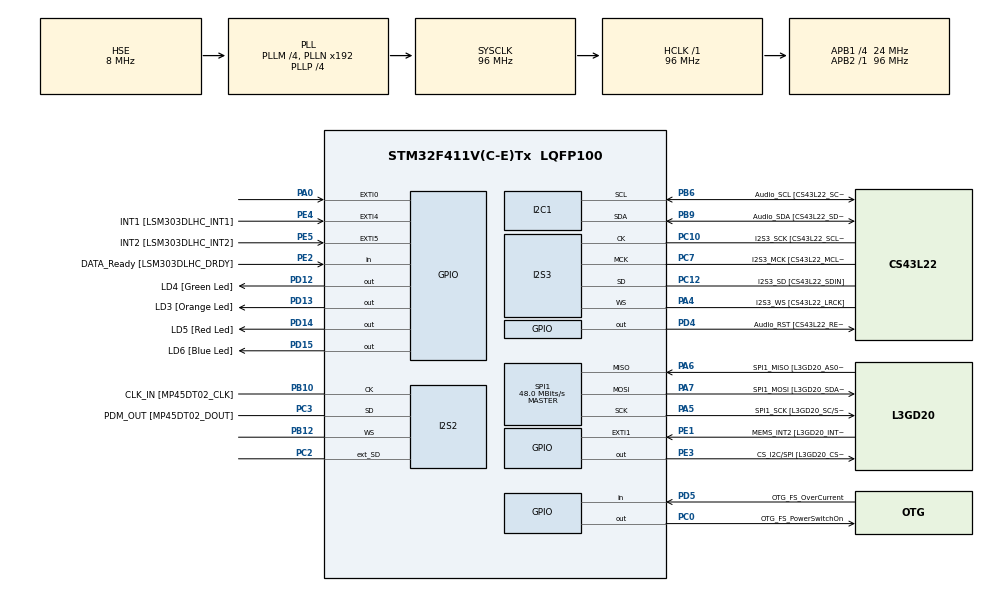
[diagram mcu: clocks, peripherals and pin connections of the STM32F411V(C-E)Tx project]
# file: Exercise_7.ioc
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FREERTOS.Tasks01=GreenLED_task,0,128,start_GreenLED_task,Default,NULL,Dynamic,NULL,NULL;RedLED_task,0,128,start_RedLED_task,Default,NULL,Dynamic,NULL,NULL;OrangeLED_task,1,128,task_OrangeLED_task,Default,NULL,Dynamic,NULL,NULL
I2S2.AudioFreq=I2S_AUDIOFREQ_96K
I2S2.ErrorAudioFreq=0.15 %
I2S2.FullDuplexMode=I2S_FULLDUPLEXMODE_ENABLE
I2S2.Instance=SPI$Index
I2S2.RealAudioFreq=96.153 KHz
I2S2.VirtualMode=I2S_MODE_MASTER
I2S3.AudioFreq=I2S_AUDIOFREQ_96K
I2S3.ErrorAudioFreq=-6.99 %
I2S3.FullDuplexMode=I2S_FULLDUPLEXMODE_DISABLE
I2S3.Instance=SPI$Index
I2S3.RealAudioFreq=89.285 KHz
I2S3.VirtualMode=I2S_MODE_MASTER
Mcu.Family=STM32F4
Mcu.Name=STM32F411V(C-E)Tx
Mcu.Package=LQFP100
NVIC.PriorityGroup=NVIC_PRIORITYGROUP_4
NVIC.TIM1_UP_TIM10_IRQn=true\:0\:0\:false\:false\:true\:false\:false\:true
NVIC.TimeBase=TIM1_UP_TIM10_IRQn
NVIC.TimeBaseIP=TIM1
PA0-WKUP.GPIO_ModeDefaultEXTI=GPIO_MODE_EVT_RISING
PA0-WKUP.Signal=GPXTI0
PA10.GPIO_Label=OTG_FS_ID
PA10.Signal=USB_OTG_FS_ID
PA11.GPIO_Label=OTG_FS_DM
PA11.Signal=USB_OTG_FS_DM
PA12.GPIO_Label=OTG_FS_DP
PA12.Signal=USB_OTG_FS_DP
PA13.GPIO_Label=SWDIO
PA13.Mode=Serial_Wire
PA13.Signal=SYS_JTMS-SWDIO
PA14.GPIO_Label=SWCLK
PA14.Mode=Serial_Wire
PA14.Signal=SYS_JTCK-SWCLK
PA4.GPIO_Label=I2S3_WS [CS43L22_LRCK]
PA4.GPIO_Mode=GPIO_MODE_AF_PP
PA4.GPIO_PuPd=GPIO_NOPULL
PA4.GPIO_Speed=GPIO_SPEED_FREQ_LOW
PA4.Mode=Half_Duplex_Master
PA4.Signal=I2S3_WS
PA5.GPIO_Label=SPI1_SCK [L3GD20_SC/SPC]
PA5.Mode=Full_Duplex_Master
PA5.Signal=SPI1_SCK
PA6.GPIO_Label=SPI1_MISO [L3GD20_AS0/SDO]
PA6.Mode=Full_Duplex_Master
PA6.Signal=SPI1_MISO
PA7.GPIO_Label=SPI1_MOSI [L3GD20_SDA/SDI/SDO]
PA7.Mode=Full_Duplex_Master
PA7.Signal=SPI1_MOSI
PA9.GPIO_Label=VBUS_FS
PA9.Signal=USB_OTG_FS_VBUS
PB10.GPIO_Label=CLK_IN [MP45DT02_CLK]
PB10.Mode=Full_Duplex_Master
PB10.Signal=I2S2_CK
PB12.Mode=Full_Duplex_Master
PB12.Signal=I2S2_WS
PB3.GPIO_Label=SWO
PB3.Signal=SYS_JTDO-SWO
PB6.GPIO_Label=Audio_SCL [CS43L22_SCL]
PB6.GPIO_Mode=GPIO_MODE_AF_OD
PB6.GPIO_PuPd=GPIO_NOPULL
PB6.GPIO_Speed=GPIO_SPEED_FREQ_LOW
PB6.Mode=I2C
PB6.Signal=I2C1_SCL
PB9.GPIO_Label=Audio_SDA [CS43L22_SDA]
PB9.GPIO_Mode=GPIO_MODE_AF_OD
PB9.GPIO_PuPd=GPIO_NOPULL
PB9.GPIO_Speed=GPIO_SPEED_FREQ_LOW
PB9.Mode=I2C
PB9.Signal=I2C1_SDA
PC0.GPIO_Label=OTG_FS_PowerSwitchOn
PC0.PinState=GPIO_PIN_SET
PC0.Signal=GPIO_Output
PC10.GPIO_Label=I2S3_SCK [CS43L22_SCLK]
PC10.GPIO_Mode=GPIO_MODE_AF_PP
PC10.GPIO_PuPd=GPIO_NOPULL
PC10.GPIO_Speed=GPIO_SPEED_FREQ_LOW
PC10.Mode=Half_Duplex_Master
PC10.Signal=I2S3_CK
PC12.GPIO_Label=I2S3_SD [CS43L22_SDIN]
PC12.GPIO_Mode=GPIO_MODE_AF_PP
PC12.GPIO_PuPd=GPIO_NOPULL
PC12.GPIO_Speed=GPIO_SPEED_FREQ_LOW
PC12.Mode=Half_Duplex_Master
PC12.Signal=I2S3_SD
PC14-OSC32_IN.GPIO_Label=PC14-OSC32_IN
PC14-OSC32_IN.Mode=LSE-External-Oscillator
PC14-OSC32_IN.Signal=RCC_OSC32_IN
PC15-OSC32_OUT.GPIO_Label=PC15-OSC32_OUT
PC15-OSC32_OUT.Mode=LSE-External-Oscillator
PC15-OSC32_OUT.Signal=RCC_OSC32_OUT
PC2.Mode=Full_Duplex_Master
PC2.Signal=I2S2_ext_SD
PC3.GPIO_Label=PDM_OUT [MP45DT02_DOUT]
PC3.Mode=Full_Duplex_Master
PC3.Signal=I2S2_SD
PC7.GPIO_Label=I2S3_MCK [CS43L22_MCLK]
PC7.GPIO_Mode=GPIO_MODE_AF_PP
PC7.GPIO_PuPd=GPIO_NOPULL
PC7.GPIO_Speed=GPIO_SPEED_FREQ_LOW
PC7.Mode=Master_Clock_Activated
PC7.Signal=I2S3_MCK
PD12.GPIO_Label=LD4 [Green Led]
PD12.GPIO_PuPd=GPIO_NOPULL
PD12.GPIO_Speed=GPIO_SPEED_FREQ_LOW
PD12.Signal=GPIO_Output
PD13.GPIO_Label=LD3 [Orange Led]
PD13.GPIO_PuPd=GPIO_NOPULL
PD13.GPIO_Speed=GPIO_SPEED_FREQ_LOW
PD13.Signal=GPIO_Output
PD14.GPIO_Label=LD5 [Red Led]
PD14.GPIO_PuPd=GPIO_NOPULL
PD14.GPIO_Speed=GPIO_SPEED_FREQ_LOW
PD14.Signal=GPIO_Output
PD15.GPIO_Label=LD6 [Blue Led]
PD15.GPIO_PuPd=GPIO_NOPULL
PD15.GPIO_Speed=GPIO_SPEED_FREQ_LOW
PD15.Signal=GPIO_Output
PD4.GPIO_Label=Audio_RST [CS43L22_RESET]
PD4.Signal=GPIO_Output
PD5.GPIO_Label=OTG_FS_OverCurrent
PD5.Signal=GPIO_Input
PE1.GPIO_Label=MEMS_INT2 [L3GD20_INT2]
PE1.GPIO_ModeDefaultEXTI=GPIO_MODE_EVT_RISING
PE1.Signal=GPXTI1
PE2.GPIO_Label=DATA_Ready [LSM303DLHC_DRDY]
PE2.Signal=GPIO_Input
PE3.GPIO_Label=CS_I2C/SPI [L3GD20_CS_I2C/SPI]
PE3.Signal=GPIO_Output
PE4.GPIO_Label=INT1 [LSM303DLHC_INT1]
PE4.GPIO_ModeDefaultEXTI=GPIO_MODE_EVT_RISING
PE4.Signal=GPXTI4
PE5.GPIO_Label=INT2 [LSM303DLHC_INT2]
PE5.GPIO_ModeDefaultEXTI=GPIO_MODE_EVT_RISING
PE5.Signal=GPXTI5
PH0\ -\ OSC_IN.GPIO_Label=PH0-OSC_IN
PH0\ -\ OSC_IN.Mode=HSE-External-Clock-Source
PH0\ -\ OSC_IN.Signal=RCC_OSC_IN
PH1\ -\ OSC_OUT.GPIO_Label=PH1-OSC_OUT
PH1\ -\ OSC_OUT.Mode=HSE-External-Clock-Source
PH1\ -\ OSC_OUT.Signal=RCC_OSC_OUT
ProjectManager.HeapSize=0x200
ProjectManager.StackSize=0x400
ProjectManager.TargetToolchain=STM32CubeIDE
RCC.48MHZClocksFreq_Value=48000000
RCC.AHBFreq_Value=96000000
RCC.APB1CLKDivider=RCC_HCLK_DIV4
RCC.APB1Freq_Value=24000000
RCC.APB1TimFreq_Value=48000000
RCC.APB2Freq_Value=96000000
RCC.APB2TimFreq_Value=96000000
RCC.CortexFreq_Value=96000000
RCC.HCLKFreq_Value=96000000
RCC.HSE_VALUE=8000000
RCC.HSI_VALUE=16000000
RCC.PLLI2SM=5
RCC.PLLI2SN=200
RCC.PLLM=4
RCC.PLLP=RCC_PLLP_DIV4
RCC.PLLQ=8
RCC.PLLSourceVirtual=RCC_PLLSOURCE_HSE
RCC.SYSCLKFreq_VALUE=96000000
RCC.SYSCLKSource=RCC_SYSCLKSOURCE_PLLCLK
RCC.VCOOutputFreq_Value=384000000
SPI1.BaudRatePrescaler=SPI_BAUDRATEPRESCALER_2
SPI1.CalculateBaudRate=48.0 MBits/s
SPI1.Direction=SPI_DIRECTION_2LINES
SPI1.Mode=SPI_MODE_MASTER
SPI1.VirtualType=VM_MASTER
VP_FREERTOS_VS_CMSIS_V1.Mode=CMSIS_V1
VP_SYS_VS_tim1.Mode=TIM1
board=STM32F411E-DISCO

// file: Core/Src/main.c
/* USER CODE BEGIN Header */
/**
  ******************************************************************************
  * @file           : main.c
  * @brief          : Main program body
  ******************************************************************************
  * @attention
  *
  * <h2><center>&copy; Copyright (c) 2023 STMicroelectronics.
  * All rights reserved.</center></h2>
  *
  * This software component is licensed by ST under Ultimate Liberty license
  * SLA0044, the "License"; You may not use this file except in compliance with
  * the License. You may obtain a copy of the License at:
  *                             www.st.com/SLA0044
  *
  ******************************************************************************
  */
/* USER CODE END Header */

#include "main.h"
#include "cmsis_os.h"

/* USER CODE BEGIN PD */
#define green GPIO_PIN_12
#define orange GPIO_PIN_13
#define red GPIO_PIN_14
#define blue GPIO_PIN_15
/* USER CODE END PD */

I2C_HandleTypeDef hi2c1;

I2S_HandleTypeDef hi2s2;
I2S_HandleTypeDef hi2s3;

SPI_HandleTypeDef hspi1;

osThreadId GreenLED_taskHandle;
osThreadId RedLED_taskHandle;
osThreadId OrangeLED_taskHandle;
/* USER CODE BEGIN PV */
int Start_Flag = 1;
/* USER CODE END PV */

void SystemClock_Config(void);
static void MX_GPIO_Init(void);
static void MX_I2C1_Init(void);
static void MX_I2S2_Init(void);
static void MX_I2S3_Init(void);
static void MX_SPI1_Init(void);
void start_GreenLED_task(void const * argument);
void start_RedLED_task(void const * argument);
void task_OrangeLED_task(void const * argument);

int main(void)
{

  /* MCU Configuration--------------------------------------------------------*/

  /* Reset of all peripherals, Initializes the Flash interface and the Systick. */
  HAL_Init();

  /* Configure the system clock */
  SystemClock_Config();

  /* Initialize all configured peripherals */
  MX_GPIO_Init();
  MX_I2C1_Init();
  MX_I2S2_Init();
  MX_I2S3_Init();
  MX_SPI1_Init();

  /* Create the thread(s) */
  /* definition and creation of GreenLED_task */
  osThreadDef(GreenLED_task, start_GreenLED_task, osPriorityNormal, 0, 128);
  GreenLED_taskHandle = osThreadCreate(osThread(GreenLED_task), NULL);

  /* definition and creation of RedLED_task */
  osThreadDef(RedLED_task, start_RedLED_task, osPriorityNormal, 0, 128);
  RedLED_taskHandle = osThreadCreate(osThread(RedLED_task), NULL);

  /* definition and creation of OrangeLED_task */
  osThreadDef(OrangeLED_task, task_OrangeLED_task, osPriorityAboveNormal, 0, 128);
  OrangeLED_taskHandle = osThreadCreate(osThread(OrangeLED_task), NULL);

  /* Start scheduler */
  osKernelStart();

  /* We should never get here as control is now taken by the scheduler */

  /* Infinite loop */
  while (1)
  {

  }
}

void SystemClock_Config(void)
{
  RCC_OscInitTypeDef RCC_OscInitStruct = {0};
  RCC_ClkInitTypeDef RCC_ClkInitStruct = {0};
  RCC_PeriphCLKInitTypeDef PeriphClkInitStruct = {0};

  /** Configure the main internal regulator output voltage
  */
  __HAL_RCC_PWR_CLK_ENABLE();
  __HAL_PWR_VOLTAGESCALING_CONFIG(PWR_REGULATOR_VOLTAGE_SCALE1);
  /** Initializes the CPU, AHB and APB busses clocks
  */
  RCC_OscInitStruct.OscillatorType = RCC_OSCILLATORTYPE_HSE;
  RCC_OscInitStruct.HSEState = RCC_HSE_BYPASS;
  RCC_OscInitStruct.PLL.PLLState = RCC_PLL_ON;
  RCC_OscInitStruct.PLL.PLLSource = RCC_PLLSOURCE_HSE;
  RCC_OscInitStruct.PLL.PLLM = 4;
  RCC_OscInitStruct.PLL.PLLN = 192;
  RCC_OscInitStruct.PLL.PLLP = RCC_PLLP_DIV4;
  RCC_OscInitStruct.PLL.PLLQ = 8;
  if (HAL_RCC_OscConfig(&RCC_OscInitStruct) != HAL_OK)
  {
    Error_Handler();
  }
  /** Initializes the CPU, AHB and APB busses clocks
  */
  RCC_ClkInitStruct.ClockType = RCC_CLOCKTYPE_HCLK|RCC_CLOCKTYPE_SYSCLK
                              |RCC_CLOCKTYPE_PCLK1|RCC_CLOCKTYPE_PCLK2;
  RCC_ClkInitStruct.SYSCLKSource = RCC_SYSCLKSOURCE_PLLCLK;
  RCC_ClkInitStruct.AHBCLKDivider = RCC_SYSCLK_DIV1;
  RCC_ClkInitStruct.APB1CLKDivider = RCC_HCLK_DIV4;
  RCC_ClkInitStruct.APB2CLKDivider = RCC_HCLK_DIV1;

  if (HAL_RCC_ClockConfig(&RCC_ClkInitStruct, FLASH_LATENCY_3) != HAL_OK)
  {
    Error_Handler();
  }
  PeriphClkInitStruct.PeriphClockSelection = RCC_PERIPHCLK_I2S;
  PeriphClkInitStruct.PLLI2S.PLLI2SN = 200;
  PeriphClkInitStruct.PLLI2S.PLLI2SM = 5;
  PeriphClkInitStruct.PLLI2S.PLLI2SR = 2;
  if (HAL_RCCEx_PeriphCLKConfig(&PeriphClkInitStruct) != HAL_OK)
  {
    Error_Handler();
  }
}

static void MX_I2C1_Init(void)
{

  hi2c1.Instance = I2C1;
  hi2c1.Init.ClockSpeed = 100000;
  hi2c1.Init.DutyCycle = I2C_DUTYCYCLE_2;
  hi2c1.Init.OwnAddress1 = 0;
  hi2c1.Init.AddressingMode = I2C_ADDRESSINGMODE_7BIT;
  hi2c1.Init.DualAddressMode = I2C_DUALADDRESS_DISABLE;
  hi2c1.Init.OwnAddress2 = 0;
  hi2c1.Init.GeneralCallMode = I2C_GENERALCALL_DISABLE;
  hi2c1.Init.NoStretchMode = I2C_NOSTRETCH_DISABLE;
  if (HAL_I2C_Init(&hi2c1) != HAL_OK)
  {
    Error_Handler();
  }

}

static void MX_I2S2_Init(void)
{

  hi2s2.Instance = SPI2;
  hi2s2.Init.Mode = I2S_MODE_MASTER_TX;
  hi2s2.Init.Standard = I2S_STANDARD_PHILIPS;
  hi2s2.Init.DataFormat = I2S_DATAFORMAT_16B;
  hi2s2.Init.MCLKOutput = I2S_MCLKOUTPUT_DISABLE;
  hi2s2.Init.AudioFreq = I2S_AUDIOFREQ_96K;
  hi2s2.Init.CPOL = I2S_CPOL_LOW;
  hi2s2.Init.ClockSource = I2S_CLOCK_PLL;
  hi2s2.Init.FullDuplexMode = I2S_FULLDUPLEXMODE_ENABLE;
  if (HAL_I2S_Init(&hi2s2) != HAL_OK)
  {
    Error_Handler();
  }

}

static void MX_I2S3_Init(void)
{

  hi2s3.Instance = SPI3;
  hi2s3.Init.Mode = I2S_MODE_MASTER_TX;
  hi2s3.Init.Standard = I2S_STANDARD_PHILIPS;
  hi2s3.Init.DataFormat = I2S_DATAFORMAT_16B;
  hi2s3.Init.MCLKOutput = I2S_MCLKOUTPUT_ENABLE;
  hi2s3.Init.AudioFreq = I2S_AUDIOFREQ_96K;
  hi2s3.Init.CPOL = I2S_CPOL_LOW;
  hi2s3.Init.ClockSource = I2S_CLOCK_PLL;
  hi2s3.Init.FullDuplexMode = I2S_FULLDUPLEXMODE_DISABLE;
  if (HAL_I2S_Init(&hi2s3) != HAL_OK)
  {
    Error_Handler();
  }

}

static void MX_SPI1_Init(void)
{

  /* SPI1 parameter configuration*/
  hspi1.Instance = SPI1;
  hspi1.Init.Mode = SPI_MODE_MASTER;
  hspi1.Init.Direction = SPI_DIRECTION_2LINES;
  hspi1.Init.DataSize = SPI_DATASIZE_8BIT;
  hspi1.Init.CLKPolarity = SPI_POLARITY_LOW;
  hspi1.Init.CLKPhase = SPI_PHASE_1EDGE;
  hspi1.Init.NSS = SPI_NSS_SOFT;
  hspi1.Init.BaudRatePrescaler = SPI_BAUDRATEPRESCALER_2;
  hspi1.Init.FirstBit = SPI_FIRSTBIT_MSB;
  hspi1.Init.TIMode = SPI_TIMODE_DISABLE;
  hspi1.Init.CRCCalculation = SPI_CRCCALCULATION_DISABLE;
  hspi1.Init.CRCPolynomial = 10;
  if (HAL_SPI_Init(&hspi1) != HAL_OK)
  {
    Error_Handler();
  }

}

static void MX_GPIO_Init(void)
{
  GPIO_InitTypeDef GPIO_InitStruct = {0};

  /* GPIO Ports Clock Enable */
  __HAL_RCC_GPIOE_CLK_ENABLE();
  __HAL_RCC_GPIOC_CLK_ENABLE();
  __HAL_RCC_GPIOH_CLK_ENABLE();
  __HAL_RCC_GPIOA_CLK_ENABLE();
  __HAL_RCC_GPIOB_CLK_ENABLE();
  __HAL_RCC_GPIOD_CLK_ENABLE();

  /*Configure GPIO pin Output Level */
  HAL_GPIO_WritePin(CS_I2C_SPI_GPIO_Port, CS_I2C_SPI_Pin, GPIO_PIN_RESET);

  /*Configure GPIO pin Output Level */
  HAL_GPIO_WritePin(OTG_FS_PowerSwitchOn_GPIO_Port, OTG_FS_PowerSwitchOn_Pin, GPIO_PIN_SET);

  /*Configure GPIO pin Output Level */
  HAL_GPIO_WritePin(GPIOD, LD4_Pin|LD3_Pin|LD5_Pin|LD6_Pin
                          |Audio_RST_Pin, GPIO_PIN_RESET);

  /*Configure GPIO pin : DATA_Ready_Pin */
  GPIO_InitStruct.Pin = DATA_Ready_Pin;
  GPIO_InitStruct.Mode = GPIO_MODE_INPUT;
  GPIO_InitStruct.Pull = GPIO_NOPULL;
  HAL_GPIO_Init(DATA_Ready_GPIO_Port, &GPIO_InitStruct);

  /*Configure GPIO pin : CS_I2C_SPI_Pin */
  GPIO_InitStruct.Pin = CS_I2C_SPI_Pin;
  GPIO_InitStruct.Mode = GPIO_MODE_OUTPUT_PP;
  GPIO_InitStruct.Pull = GPIO_NOPULL;
  GPIO_InitStruct.Speed = GPIO_SPEED_FREQ_LOW;
  HAL_GPIO_Init(CS_I2C_SPI_GPIO_Port, &GPIO_InitStruct);

  /*Configure GPIO pins : INT1_Pin INT2_Pin MEMS_INT2_Pin */
  GPIO_InitStruct.Pin = INT1_Pin|INT2_Pin|MEMS_INT2_Pin;
  GPIO_InitStruct.Mode = GPIO_MODE_EVT_RISING;
  GPIO_InitStruct.Pull = GPIO_NOPULL;
  HAL_GPIO_Init(GPIOE, &GPIO_InitStruct);

  /*Configure GPIO pin : OTG_FS_PowerSwitchOn_Pin */
  GPIO_InitStruct.Pin = OTG_FS_PowerSwitchOn_Pin;
  GPIO_InitStruct.Mode = GPIO_MODE_OUTPUT_PP;
  GPIO_InitStruct.Pull = GPIO_NOPULL;
  GPIO_InitStruct.Speed = GPIO_SPEED_FREQ_LOW;
  HAL_GPIO_Init(OTG_FS_PowerSwitchOn_GPIO_Port, &GPIO_InitStruct);

  /*Configure GPIO pin : PA0 */
  GPIO_InitStruct.Pin = GPIO_PIN_0;
  GPIO_InitStruct.Mode = GPIO_MODE_EVT_RISING;
  GPIO_InitStruct.Pull = GPIO_NOPULL;
  HAL_GPIO_Init(GPIOA, &GPIO_InitStruct);

  /*Configure GPIO pins : LD4_Pin LD3_Pin LD5_Pin LD6_Pin
                           Audio_RST_Pin */
  GPIO_InitStruct.Pin = LD4_Pin|LD3_Pin|LD5_Pin|LD6_Pin
                          |Audio_RST_Pin;
  GPIO_InitStruct.Mode = GPIO_MODE_OUTPUT_PP;
  GPIO_InitStruct.Pull = GPIO_NOPULL;
  GPIO_InitStruct.Speed = GPIO_SPEED_FREQ_LOW;
  HAL_GPIO_Init(GPIOD, &GPIO_InitStruct);

  /*Configure GPIO pin : VBUS_FS_Pin */
  GPIO_InitStruct.Pin = VBUS_FS_Pin;
  GPIO_InitStruct.Mode = GPIO_MODE_INPUT;
  GPIO_InitStruct.Pull = GPIO_NOPULL;
  HAL_GPIO_Init(VBUS_FS_GPIO_Port, &GPIO_InitStruct);

  /*Configure GPIO pins : OTG_FS_ID_Pin OTG_FS_DM_Pin OTG_FS_DP_Pin */
  GPIO_InitStruct.Pin = OTG_FS_ID_Pin|OTG_FS_DM_Pin|OTG_FS_DP_Pin;
  GPIO_InitStruct.Mode = GPIO_MODE_AF_PP;
  GPIO_InitStruct.Pull = GPIO_NOPULL;
  GPIO_InitStruct.Speed = GPIO_SPEED_FREQ_VERY_HIGH;
  GPIO_InitStruct.Alternate = GPIO_AF10_OTG_FS;
  HAL_GPIO_Init(GPIOA, &GPIO_InitStruct);

  /*Configure GPIO pin : OTG_FS_OverCurrent_Pin */
  GPIO_InitStruct.Pin = OTG_FS_OverCurrent_Pin;
  GPIO_InitStruct.Mode = GPIO_MODE_INPUT;
  GPIO_InitStruct.Pull = GPIO_NOPULL;
  HAL_GPIO_Init(OTG_FS_OverCurrent_GPIO_Port, &GPIO_InitStruct);

}

/* USER CODE BEGIN 4 */
void Access_Function()
{
	if (Start_Flag == 1)
	{
		Start_Flag = 0;
	}
	else
	{
		HAL_GPIO_TogglePin(GPIOD, blue);
	}
	for(int i = 0; i < 500000; i++);
	Start_Flag = 1;
}
/* USER CODE END 4 */

void start_GreenLED_task(void const * argument)
{
  /* USER CODE BEGIN 5 */
  /* Infinite loop */
  for(;;)
  {
	  HAL_GPIO_WritePin(GPIOD, green, GPIO_PIN_SET);
	  taskENTER_CRITICAL();// disable interrupts ~ suspends the scheduler
	  Access_Function();
	  taskEXIT_CRITICAL();// enable interrupts ~ resume the scheduler
	  vTaskDelay(200);
	  HAL_GPIO_WritePin(GPIOD, green, GPIO_PIN_RESET);
	  vTaskDelay(200);
}
  /* USER CODE END 5 */
}

void start_RedLED_task(void const * argument)
{
  /* USER CODE BEGIN start_RedLED_task */
  /* Infinite loop */
  for(;;)
  {
	  HAL_GPIO_WritePin(GPIOD, red, GPIO_PIN_SET);
	  taskENTER_CRITICAL();// disable interrupts ~ suspends the scheduler
	  Access_Function();
	  taskEXIT_CRITICAL();// enable interrupts ~ resume the scheduler
	  vTaskDelay(550);
	  HAL_GPIO_WritePin(GPIOD, red, GPIO_PIN_RESET);
	  vTaskDelay(550);
  }
  /* USER CODE END start_RedLED_task */
}

void task_OrangeLED_task(void const * argument)
{
  /* USER CODE BEGIN task_OrangeLED_task */
  /* Infinite loop */
  for(;;)
  {
	  HAL_GPIO_TogglePin(GPIOD, orange);
	  vTaskDelay(50);
  }
  /* USER CODE END task_OrangeLED_task */
}

void HAL_TIM_PeriodElapsedCallback(TIM_HandleTypeDef *htim)
{
  if (htim->Instance == TIM1) {
    HAL_IncTick();
  }
}

void Error_Handler(void)
{
}

/************************ (C) COPYRIGHT STMicroelectronics *****END OF FILE****/
